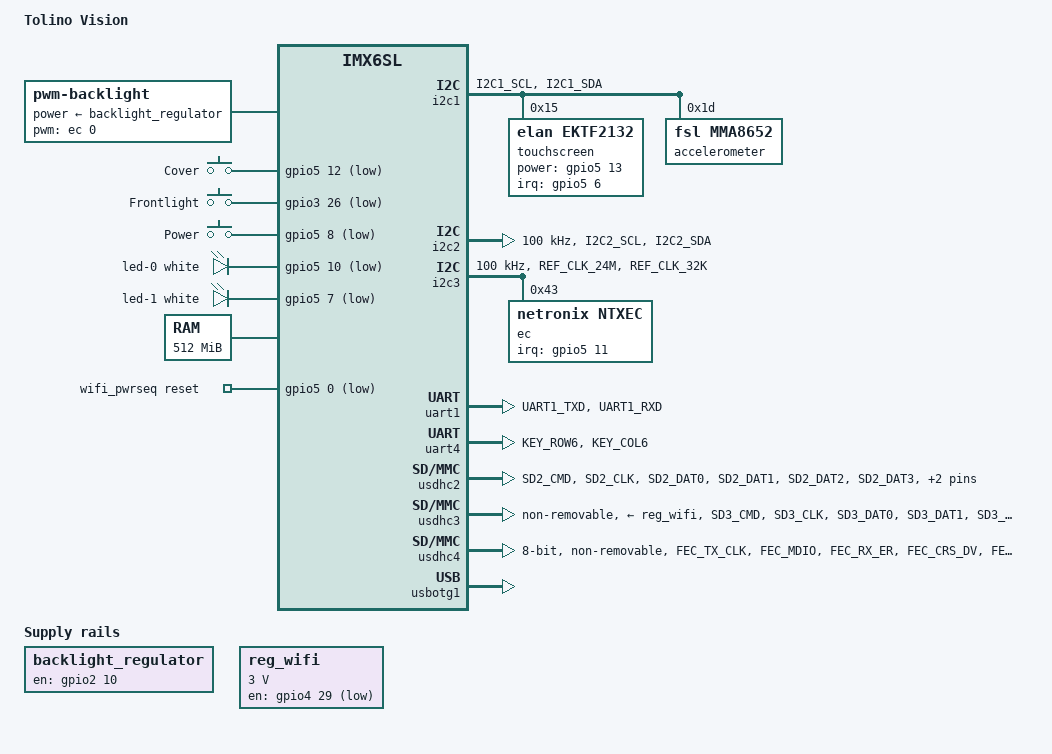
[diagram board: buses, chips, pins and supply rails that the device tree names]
// SPDX-License-Identifier: GPL-2.0
/*
 * Device tree for the Tolino Vison ebook reader
 *
 * Name on mainboard is: 37NB-E60Q30+4A3
 * Serials start with: 6032
 *
 * Copyright 2023 Andreas Kemnade
 */

/dts-v1/;

#include <dt-bindings/leds/common.h>
#include <dt-bindings/input/input.h>
#include <dt-bindings/gpio/gpio.h>
#include "imx6sl.dtsi"

/ {
	model = "Tolino Vision";
	compatible = "kobo,tolino-vision", "fsl,imx6sl";

	aliases {
		mmc0 = &usdhc4;
		mmc1 = &usdhc2;
	};

	backlight {
		compatible = "pwm-backlight";
		pwms = <&ec 0 50000>;
		power-supply = <&backlight_regulator>;
	};

	backlight_regulator: regulator-backlight {
		compatible = "regulator-fixed";
		pinctrl-names = "default";
		pinctrl-0 = <&pinctrl_backlight_power>;
		regulator-name = "backlight";
		gpio = <&gpio2 10 GPIO_ACTIVE_HIGH>;
		enable-active-high;
	};

	chosen {
		stdout-path = &uart1;
	};

	gpio_keys: gpio-keys {
		compatible = "gpio-keys";
		pinctrl-names = "default";
		pinctrl-0 = <&pinctrl_gpio_keys>;

		key-cover {
			/* magnetic sensor in the corner next to the uSD slot */
			label = "Cover";
			gpios = <&gpio5 12 GPIO_ACTIVE_LOW>;
			linux,code = <SW_LID>;
			linux,input-type = <EV_SW>;
			wakeup-source;
		};

		key-fl {
			label = "Frontlight";
			gpios = <&gpio3 26 GPIO_ACTIVE_LOW>;
			linux,code = <KEY_BRIGHTNESS_CYCLE>;
		};

		key-power {
			label = "Power";
			gpios = <&gpio5 8 GPIO_ACTIVE_LOW>;
			linux,code = <KEY_POWER>;
			wakeup-source;
		};
	};

	leds: leds {
		compatible = "gpio-leds";
		pinctrl-names = "default";
		pinctrl-0 = <&pinctrl_leds>;

		led-0 {
			/* LED on home button */
			color = <LED_COLOR_ID_WHITE>;
			function = LED_FUNCTION_STATUS;
			gpios = <&gpio5 10 GPIO_ACTIVE_LOW>;
		};

		led-1 {
			/* LED on power button */
			color = <LED_COLOR_ID_WHITE>;
			function = LED_FUNCTION_POWER;
			gpios = <&gpio5 7 GPIO_ACTIVE_LOW>;
			linux,default-trigger = "timer";
		};
	};

	memory@80000000 {
		device_type = "memory";
		reg = <0x80000000 0x20000000>;
	};

	reg_wifi: regulator-wifi {
		compatible = "regulator-fixed";
		pinctrl-names = "default";
		pinctrl-0 = <&pinctrl_wifi_power>;
		regulator-name = "SD3_SPWR";
		regulator-min-microvolt = <3000000>;
		regulator-max-microvolt = <3000000>;
		gpio = <&gpio4 29 GPIO_ACTIVE_LOW>;
	};


	wifi_pwrseq: wifi_pwrseq {
		compatible = "mmc-pwrseq-simple";
		pinctrl-names = "default";
		pinctrl-0 = <&pinctrl_wifi_reset>;
		post-power-on-delay-ms = <20>;
		reset-gpios = <&gpio5 0 GPIO_ACTIVE_LOW>;
	};
};

&i2c1 {
	pinctrl-names = "default","sleep";
	pinctrl-0 = <&pinctrl_i2c1>;
	pinctrl-1 = <&pinctrl_i2c1_sleep>;
	status = "okay";

	touchscreen@15 {
		compatible = "elan,ektf2132";
		reg = <0x15>;
		pinctrl-names = "default";
		pinctrl-0 = <&pinctrl_ts>;
		power-gpios = <&gpio5 13 GPIO_ACTIVE_HIGH>;
		interrupts-extended = <&gpio5 6 IRQ_TYPE_EDGE_FALLING>;
	};

	accelerometer@1d {
		compatible = "fsl,mma8652";
		reg = <0x1d>;
	};
};

&i2c2 {
	pinctrl-names = "default","sleep";
	pinctrl-0 = <&pinctrl_i2c2>;
	pinctrl-1 = <&pinctrl_i2c2_sleep>;
	clock-frequency = <100000>;
	status = "okay";
};

&i2c3 {
	pinctrl-names = "default";
	pinctrl-0 = <&pinctrl_i2c3>;
	clock-frequency = <100000>;
	status = "okay";

	ec: embedded-controller@43 {
		compatible = "netronix,ntxec";
		reg = <0x43>;
		#pwm-cells = <2>;
		pinctrl-names = "default";
		pinctrl-0 = <&pinctrl_ec>;
		interrupts-extended = <&gpio5 11 IRQ_TYPE_EDGE_FALLING>;
		system-power-controller;
	};
};

&snvs_rtc {
	/*
	 * We are using the RTC in the PMIC, but this one is not disabled
	 * in imx6sl.dtsi.
	 */
	status = "disabled";
};

&uart1 {
	/* J4 */
	pinctrl-names = "default";
	pinctrl-0 = <&pinctrl_uart1>;
	status = "okay";
};

&uart4 {
	/* J9 */
	pinctrl-names = "default";
	pinctrl-0 = <&pinctrl_uart4>;
	status = "okay";
};

&usdhc2 {
	pinctrl-names = "default", "state_100mhz", "state_200mhz", "sleep";
	pinctrl-0 = <&pinctrl_usdhc2>;
	pinctrl-1 = <&pinctrl_usdhc2_100mhz>;
	pinctrl-2 = <&pinctrl_usdhc2_200mhz>;
	pinctrl-3 = <&pinctrl_usdhc2_sleep>;
	cd-gpios = <&gpio5 2 GPIO_ACTIVE_LOW>;
	status = "okay";

	/* removable uSD card */
};

&usdhc3 {
	pinctrl-names = "default", "state_100mhz", "state_200mhz", "sleep";
	pinctrl-0 = <&pinctrl_usdhc3>;
	pinctrl-1 = <&pinctrl_usdhc3_100mhz>;
	pinctrl-2 = <&pinctrl_usdhc3_200mhz>;
	pinctrl-3 = <&pinctrl_usdhc3_sleep>;
	vmmc-supply = <&reg_wifi>;
	mmc-pwrseq = <&wifi_pwrseq>;
	cap-power-off-card;
	non-removable;
	status = "okay";

	/* CyberTan WC121 (BCM43362) SDIO WiFi */
};

&usdhc4 {
	pinctrl-names = "default", "state_100mhz", "state_200mhz", "sleep";
	pinctrl-0 = <&pinctrl_usdhc4>;
	pinctrl-1 = <&pinctrl_usdhc4_100mhz>;
	pinctrl-2 = <&pinctrl_usdhc4_200mhz>;
	pinctrl-3 = <&pinctrl_usdhc4_sleep>;
	bus-width = <8>;
	no-1-8-v;
	non-removable;
	status = "okay";

	/* internal eMMC */
};

&usbotg1 {
	pinctrl-names = "default";
	disable-over-current;
	srp-disable;
	hnp-disable;
	adp-disable;
	status = "okay";
};

&iomuxc {
	pinctrl_backlight_power: backlight-powergrp {
		fsl,pins = <
			MX6SL_PAD_EPDC_PWRCTRL3__GPIO2_IO10 0x10059
		>;
	};

	pinctrl_ec: ecgrp {
		fsl,pins = <
			MX6SL_PAD_SD1_DAT0__GPIO5_IO11  0x17000
		>;
	};

	pinctrl_gpio_keys: gpio-keysgrp {
		fsl,pins = <
			MX6SL_PAD_SD1_DAT1__GPIO5_IO08  0x110B0
			MX6SL_PAD_SD1_DAT4__GPIO5_IO12  0x110B0
			MX6SL_PAD_KEY_COL1__GPIO3_IO26  0x11030
		>;
	};

	pinctrl_i2c1: i2c1grp {
		fsl,pins = <
			MX6SL_PAD_I2C1_SCL__I2C1_SCL	 0x4001f8b1
			MX6SL_PAD_I2C1_SDA__I2C1_SDA	 0x4001f8b1
		>;
	};

	pinctrl_i2c1_sleep: i2c1-sleepgrp {
		fsl,pins = <
			MX6SL_PAD_I2C1_SCL__I2C1_SCL	 0x400108b1
			MX6SL_PAD_I2C1_SDA__I2C1_SDA	 0x400108b1
		>;
	};

	pinctrl_i2c2: i2c2grp {
		fsl,pins = <
			MX6SL_PAD_I2C2_SCL__I2C2_SCL	 0x4001f8b1
			MX6SL_PAD_I2C2_SDA__I2C2_SDA	 0x4001f8b1
		>;
	};

	pinctrl_i2c2_sleep: i2c2-sleepgrp {
		fsl,pins = <
			MX6SL_PAD_I2C2_SCL__I2C2_SCL	 0x400108b1
			MX6SL_PAD_I2C2_SDA__I2C2_SDA	 0x400108b1
		>;
	};

	pinctrl_i2c3: i2c3grp {
		fsl,pins = <
			MX6SL_PAD_REF_CLK_24M__I2C3_SCL  0x4001f8b1
			MX6SL_PAD_REF_CLK_32K__I2C3_SDA  0x4001f8b1
		>;
	};

	pinctrl_leds: ledsgrp {
		fsl,pins = <
			MX6SL_PAD_SD1_DAT6__GPIO5_IO07    0x17059
			MX6SL_PAD_SD1_DAT7__GPIO5_IO10    0x17059
			MX6SL_PAD_EPDC_SDCE2__GPIO1_IO29  0x17059
		>;
	};

	pinctrl_ts: tsgrp {
		fsl,pins = <
			MX6SL_PAD_SD1_DAT2__GPIO5_IO13	0x110B0
			MX6SL_PAD_SD1_DAT3__GPIO5_IO06	0x1B0B1
		>;
	};

	pinctrl_uart1: uart1grp {
		fsl,pins = <
			MX6SL_PAD_UART1_TXD__UART1_TX_DATA 0x1b0b1
			MX6SL_PAD_UART1_RXD__UART1_RX_DATA 0x1b0b1
		>;
	};

	pinctrl_uart4: uart4grp {
		fsl,pins = <
			MX6SL_PAD_KEY_ROW6__UART4_TX_DATA 0x1b0b1
			MX6SL_PAD_KEY_COL6__UART4_RX_DATA 0x1b0b1
		>;
	};

	pinctrl_usbotg1: usbotg1grp {
		fsl,pins = <
			MX6SL_PAD_EPDC_PWRCOM__USB_OTG1_ID 0x17059
		>;
	};

	pinctrl_usdhc2: usdhc2grp {
		fsl,pins = <
			MX6SL_PAD_SD2_CMD__SD2_CMD		0x17059
			MX6SL_PAD_SD2_CLK__SD2_CLK		0x13059
			MX6SL_PAD_SD2_DAT0__SD2_DATA0		0x17059
			MX6SL_PAD_SD2_DAT1__SD2_DATA1		0x17059
			MX6SL_PAD_SD2_DAT2__SD2_DATA2		0x17059
			MX6SL_PAD_SD2_DAT3__SD2_DATA3		0x17059
			MX6SL_PAD_SD2_DAT4__GPIO5_IO02		0x1b0b1
		>;
	};

	pinctrl_usdhc2_100mhz: usdhc2-100mhzgrp {
		fsl,pins = <
			MX6SL_PAD_SD2_CMD__SD2_CMD		0x170b9
			MX6SL_PAD_SD2_CLK__SD2_CLK		0x130b9
			MX6SL_PAD_SD2_DAT0__SD2_DATA0		0x170b9
			MX6SL_PAD_SD2_DAT1__SD2_DATA1		0x170b9
			MX6SL_PAD_SD2_DAT2__SD2_DATA2		0x170b9
			MX6SL_PAD_SD2_DAT3__SD2_DATA3		0x170b9
		>;
	};

	pinctrl_usdhc2_200mhz: usdhc2-200mhzgrp {
		fsl,pins = <
			MX6SL_PAD_SD2_CMD__SD2_CMD		0x170f9
			MX6SL_PAD_SD2_CLK__SD2_CLK		0x130f9
			MX6SL_PAD_SD2_DAT0__SD2_DATA0		0x170f9
			MX6SL_PAD_SD2_DAT1__SD2_DATA1		0x170f9
			MX6SL_PAD_SD2_DAT2__SD2_DATA2		0x170f9
			MX6SL_PAD_SD2_DAT3__SD2_DATA3		0x170f9
		>;
	};

	pinctrl_usdhc2_sleep: usdhc2-sleepgrp {
		fsl,pins = <
			MX6SL_PAD_SD2_CMD__GPIO5_IO04		0x100f9
			MX6SL_PAD_SD2_CLK__GPIO5_IO05		0x100f9
			MX6SL_PAD_SD2_DAT0__GPIO5_IO01		0x100f9
			MX6SL_PAD_SD2_DAT1__GPIO4_IO30		0x100f9
			MX6SL_PAD_SD2_DAT2__GPIO5_IO03		0x100f9
			MX6SL_PAD_SD2_DAT3__GPIO4_IO28		0x100f9
		>;
	};

	pinctrl_usdhc3: usdhc3grp {
		fsl,pins = <
			MX6SL_PAD_SD3_CMD__SD3_CMD	0x11059
			MX6SL_PAD_SD3_CLK__SD3_CLK	0x11059
			MX6SL_PAD_SD3_DAT0__SD3_DATA0	0x11059
			MX6SL_PAD_SD3_DAT1__SD3_DATA1	0x11059
			MX6SL_PAD_SD3_DAT2__SD3_DATA2	0x11059
			MX6SL_PAD_SD3_DAT3__SD3_DATA3	0x11059
		>;
	};

	pinctrl_usdhc3_100mhz: usdhc3-100mhzgrp {
		fsl,pins = <
			MX6SL_PAD_SD3_CMD__SD3_CMD	0x170b9
			MX6SL_PAD_SD3_CLK__SD3_CLK	0x170b9
			MX6SL_PAD_SD3_DAT0__SD3_DATA0	0x170b9
			MX6SL_PAD_SD3_DAT1__SD3_DATA1	0x170b9
			MX6SL_PAD_SD3_DAT2__SD3_DATA2	0x170b9
			MX6SL_PAD_SD3_DAT3__SD3_DATA3	0x170b9
		>;
	};

	pinctrl_usdhc3_200mhz: usdhc3-200mhzgrp {
		fsl,pins = <
			MX6SL_PAD_SD3_CMD__SD3_CMD	0x170f9
			MX6SL_PAD_SD3_CLK__SD3_CLK	0x170f9
			MX6SL_PAD_SD3_DAT0__SD3_DATA0	0x170f9
			MX6SL_PAD_SD3_DAT1__SD3_DATA1	0x170f9
			MX6SL_PAD_SD3_DAT2__SD3_DATA2	0x170f9
			MX6SL_PAD_SD3_DAT3__SD3_DATA3	0x170f9
		>;
	};

	pinctrl_usdhc3_sleep: usdhc3-sleepgrp {
		fsl,pins = <
			MX6SL_PAD_SD3_CMD__GPIO5_IO21	0x100c1
			MX6SL_PAD_SD3_CLK__GPIO5_IO18	0x100c1
			MX6SL_PAD_SD3_DAT0__GPIO5_IO19	0x100c1
			MX6SL_PAD_SD3_DAT1__GPIO5_IO20	0x100c1
			MX6SL_PAD_SD3_DAT2__GPIO5_IO16	0x100c1
			MX6SL_PAD_SD3_DAT3__GPIO5_IO17	0x100c1
		>;
	};

	pinctrl_usdhc4: usdhc4grp {
		fsl,pins = <
			MX6SL_PAD_FEC_TX_CLK__SD4_CMD		0x17059
			MX6SL_PAD_FEC_MDIO__SD4_CLK		0x13059
			MX6SL_PAD_FEC_RX_ER__SD4_DATA0		0x17059
			MX6SL_PAD_FEC_CRS_DV__SD4_DATA1		0x17059
			MX6SL_PAD_FEC_RXD1__SD4_DATA2		0x17059
			MX6SL_PAD_FEC_TXD0__SD4_DATA3		0x17059
			MX6SL_PAD_FEC_MDC__SD4_DATA4		0x17059
			MX6SL_PAD_FEC_RXD0__SD4_DATA5		0x17059
			MX6SL_PAD_FEC_TX_EN__SD4_DATA6		0x17059
			MX6SL_PAD_FEC_TXD1__SD4_DATA7		0x17059
			MX6SL_PAD_FEC_REF_CLK__SD4_RESET	0x17068
		>;
	};

	pinctrl_usdhc4_100mhz: usdhc4-100mhzgrp {
		fsl,pins = <
			MX6SL_PAD_FEC_TX_CLK__SD4_CMD		0x170b9
			MX6SL_PAD_FEC_MDIO__SD4_CLK		0x130b9
			MX6SL_PAD_FEC_RX_ER__SD4_DATA0		0x170b9
			MX6SL_PAD_FEC_CRS_DV__SD4_DATA1		0x170b9
			MX6SL_PAD_FEC_RXD1__SD4_DATA2		0x170b9
			MX6SL_PAD_FEC_TXD0__SD4_DATA3		0x170b9
			MX6SL_PAD_FEC_MDC__SD4_DATA4		0x170b9
			MX6SL_PAD_FEC_RXD0__SD4_DATA5		0x170b9
			MX6SL_PAD_FEC_TX_EN__SD4_DATA6		0x170b9
			MX6SL_PAD_FEC_TXD1__SD4_DATA7		0x170b9
		>;
	};

	pinctrl_usdhc4_200mhz: usdhc4-200mhzgrp {
		fsl,pins = <
			MX6SL_PAD_FEC_TX_CLK__SD4_CMD		0x170f9
			MX6SL_PAD_FEC_MDIO__SD4_CLK		0x130f9
			MX6SL_PAD_FEC_RX_ER__SD4_DATA0		0x170f9
			MX6SL_PAD_FEC_CRS_DV__SD4_DATA1		0x170f9
			MX6SL_PAD_FEC_RXD1__SD4_DATA2		0x170f9
			MX6SL_PAD_FEC_TXD0__SD4_DATA3		0x170f9
			MX6SL_PAD_FEC_MDC__SD4_DATA4		0x170f9
			MX6SL_PAD_FEC_RXD0__SD4_DATA5		0x170f9
			MX6SL_PAD_FEC_TX_EN__SD4_DATA6		0x170f9
			MX6SL_PAD_FEC_TXD1__SD4_DATA7		0x170f9
		>;
	};

	pinctrl_usdhc4_sleep: usdhc4-sleepgrp {
		fsl,pins = <
			MX6SL_PAD_FEC_TX_CLK__GPIO4_IO21	0x100c1
			MX6SL_PAD_FEC_MDIO__GPIO4_IO20		0x100c1
			MX6SL_PAD_FEC_RX_ER__GPIO4_IO19		0x100c1
			MX6SL_PAD_FEC_CRS_DV__GPIO4_IO25	0x100c1
			MX6SL_PAD_FEC_RXD1__GPIO4_IO18		0x100c1
			MX6SL_PAD_FEC_TXD0__GPIO4_IO24		0x100c1
			MX6SL_PAD_FEC_MDC__GPIO4_IO23		0x100c1
			MX6SL_PAD_FEC_RXD0__GPIO4_IO17		0x100c1
			MX6SL_PAD_FEC_TX_EN__GPIO4_IO22		0x100c1
			MX6SL_PAD_FEC_TXD1__GPIO4_IO16		0x100c1
		>;
	};

	pinctrl_wifi_power: wifi-powergrp {
		fsl,pins = <
			MX6SL_PAD_SD2_DAT6__GPIO4_IO29	0x10059	/* WIFI_3V3_ON */
		>;
	};

	pinctrl_wifi_reset: wifi-resetgrp {
		fsl,pins = <
			MX6SL_PAD_SD2_DAT7__GPIO5_IO00	0x10059	/* WIFI_RST */
		>;
	};
};
